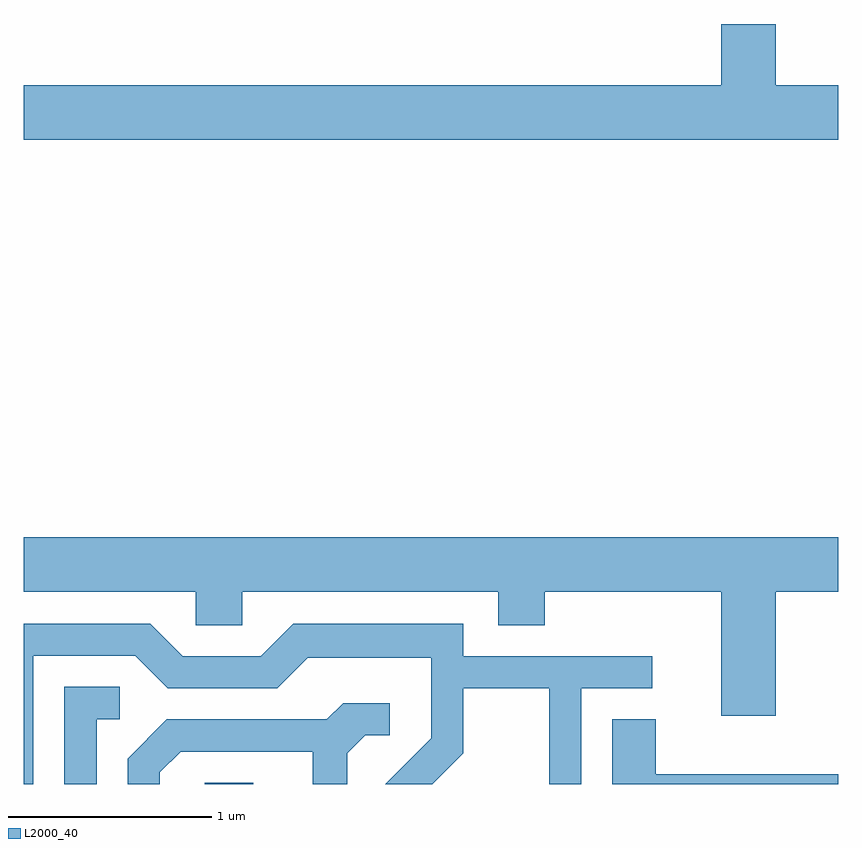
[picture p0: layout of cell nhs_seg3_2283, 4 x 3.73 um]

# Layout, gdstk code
import gdstk
lib = gdstk.Library(unit=1e-6, precision=1e-09)
def R(c, l, rs):  # rectangles x0, y0, x1, y1
    for r in rs: c.add(gdstk.rectangle(r[:2], r[2:], *l))
def P(c, l, *ps):  # polygons
    for p in ps: c.add(gdstk.Polygon(p, *l))
L2000_40 = (2000, 40)

nhs_seg3_2283 = lib.new_cell('nhs_seg3_2283')
R(nhs_seg3_2283, L2000_40, [(252.501,1193.892,252.739,1193.899)])
P(nhs_seg3_2283, L2000_40, [(255.611,1197.324),(255.304,1197.324),(255.304,1197.624),(255.036,1197.624),(255.036,1197.324),(251.611,1197.324),(251.611,1197.056),(255.611,1197.056)],
  [(255.304,1194.836),(255.611,1194.836),(255.611,1195.104),(251.611,1195.104),(251.611,1194.836),(252.456,1194.836),(252.456,1194.671),(252.684,1194.671),(252.684,1194.836),(253.941,1194.836),(253.941,1194.671),(254.169,1194.671),(254.169,1194.836),(255.036,1194.836),(255.036,1194.226),(255.304,1194.226)],
  [(251.659,1194.521),(252.159,1194.521),(252.319,1194.361),(252.857,1194.361),(253.007,1194.511),(253.611,1194.511),(253.611,1194.117),(253.386,1193.892),(253.617,1193.892),(253.769,1194.044),(253.769,1194.361),(254.191,1194.361),(254.191,1193.892),(254.349,1193.892),(254.349,1194.361),(254.698,1194.361),(254.698,1194.519),(253.769,1194.519),(253.769,1194.679),(252.934,1194.679),(252.774,1194.519),(252.392,1194.519),(252.232,1194.679),(251.611,1194.679),(251.611,1193.892),(251.659,1193.892)],
  [(251.969,1194.211),(252.083,1194.211),(252.083,1194.369),(251.811,1194.369),(251.811,1193.892),(251.969,1193.892)],
  [(252.279,1193.949),(252.382,1194.051),(253.031,1194.051),(253.031,1193.892),(253.199,1193.892),(253.199,1194.044),(253.287,1194.131),(253.408,1194.131),(253.408,1194.289),(253.179,1194.289),(253.099,1194.209),(252.314,1194.209),(252.121,1194.017),(252.121,1193.892),(252.279,1193.892)],
  [(255.611,1193.939),(254.714,1193.939),(254.714,1194.209),(254.501,1194.209),(254.501,1193.892),(255.611,1193.892)])

lib.write_gds('nhs_seg3_2283.gds')
